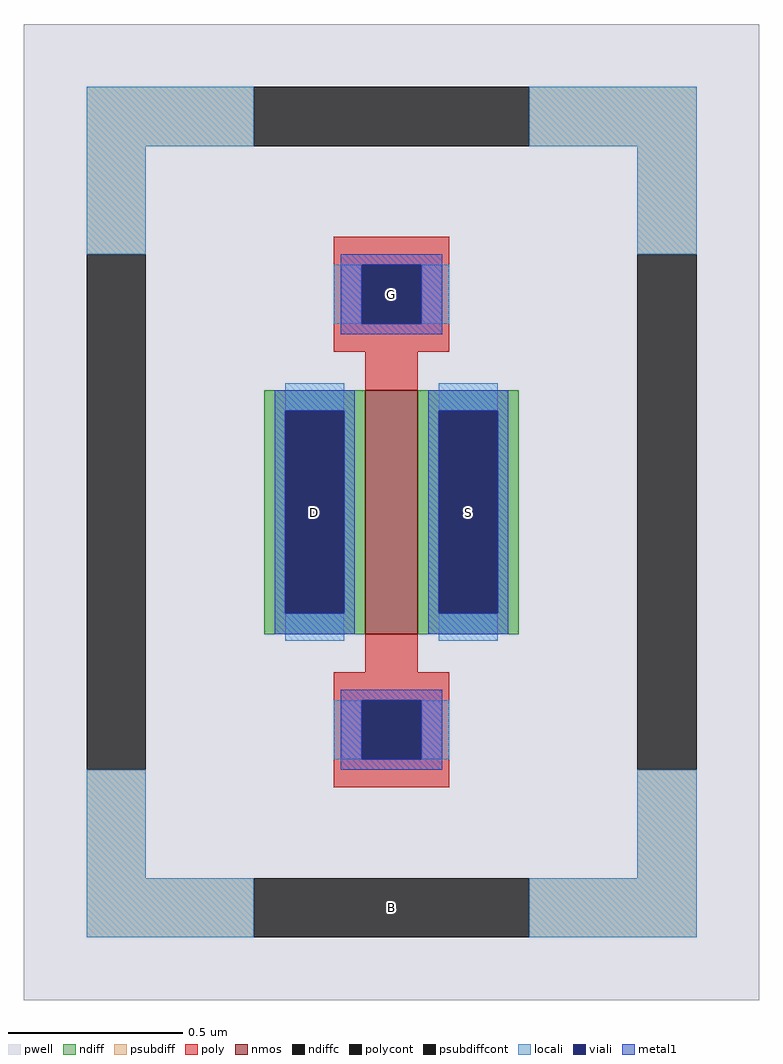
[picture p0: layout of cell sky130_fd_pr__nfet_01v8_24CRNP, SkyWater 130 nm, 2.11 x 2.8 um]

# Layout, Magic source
magic
tech sky130A
magscale 1 2
<< pwell >>
rect -211 -280 211 280
<< nmos >>
rect -15 -70 15 70
<< ndiff >>
rect -73 58 -15 70
rect -73 -58 -61 58
rect -27 -58 -15 58
rect -73 -70 -15 -58
rect 15 58 73 70
rect 15 -58 27 58
rect 61 -58 73 58
rect 15 -70 73 -58
<< ndiffc >>
rect -61 -58 -27 58
rect 27 -58 61 58
<< psubdiff >>
rect -175 210 -79 244
rect 79 210 175 244
rect -175 148 -141 210
rect 141 148 175 210
rect -175 -210 -141 -148
rect 141 -210 175 -148
rect -175 -244 -79 -210
rect 79 -244 175 -210
<< psubdiffcont >>
rect -79 210 79 244
rect -175 -148 -141 148
rect 141 -148 175 148
rect -79 -244 79 -210
<< poly >>
rect -33 142 33 158
rect -33 108 -17 142
rect 17 108 33 142
rect -33 92 33 108
rect -15 70 15 92
rect -15 -92 15 -70
rect -33 -108 33 -92
rect -33 -142 -17 -108
rect 17 -142 33 -108
rect -33 -158 33 -142
<< polycont >>
rect -17 108 17 142
rect -17 -142 17 -108
<< locali >>
rect -175 210 -79 244
rect 79 210 175 244
rect -175 148 -141 210
rect 141 148 175 210
rect -33 108 -17 142
rect 17 108 33 142
rect -61 58 -27 74
rect -61 -74 -27 -58
rect 27 58 61 74
rect 27 -74 61 -58
rect -33 -142 -17 -108
rect 17 -142 33 -108
rect -175 -210 -141 -148
rect 141 -210 175 -148
rect -175 -244 -79 -210
rect 79 -244 175 -210
<< viali >>
rect -17 108 17 142
rect -61 -58 -27 58
rect 27 -58 61 58
rect -17 -142 17 -108
<< metal1 >>
rect -29 142 29 148
rect -29 108 -17 142
rect 17 108 29 142
rect -29 102 29 108
rect -67 58 -21 70
rect -67 -58 -61 58
rect -27 -58 -21 58
rect -67 -70 -21 -58
rect 21 58 67 70
rect 21 -58 27 58
rect 61 -58 67 58
rect 21 -70 67 -58
rect -29 -108 29 -102
rect -29 -142 -17 -108
rect 17 -142 29 -108
rect -29 -148 29 -142
<< labels >>
rlabel psubdiffcont 0 -227 0 -227 0 B
port 5 nsew
rlabel ndiffc -44 0 -44 0 0 D
port 6 nsew
rlabel ndiffc 44 0 44 0 0 S
port 7 nsew
rlabel polycont 0 125 0 125 0 G
port 8 nsew
<< properties >>
string FIXED_BBOX -158 -227 158 227
string gencell sky130_fd_pr__nfet_01v8
string library sky130
string parameters w 0.7 l 0.15 m 1 nf 1 diffcov 100 polycov 100 guard 1 glc 1 grc 1 gtc 1 gbc 1 tbcov 100 rlcov 100 topc 1 botc 1 poverlap 0 doverlap 1 lmin 0.15 wmin 0.42 class mosfet compatible {sky130_fd_pr__nfet_01v8 sky130_fd_pr__nfet_01v8_lvt  sky130_fd_bs_flash__special_sonosfet_star  sky130_fd_pr__nfet_g5v0d10v5 sky130_fd_pr__nfet_05v0_nvt  sky130_fd_pr__nfet_03v3_nvt} full_metal 1 conn_gates 0 viasrc 100 viadrn 100 viagate 100 viagb 0 viagr 0 viagl 0 viagt 0 doports 1
<< end >>
